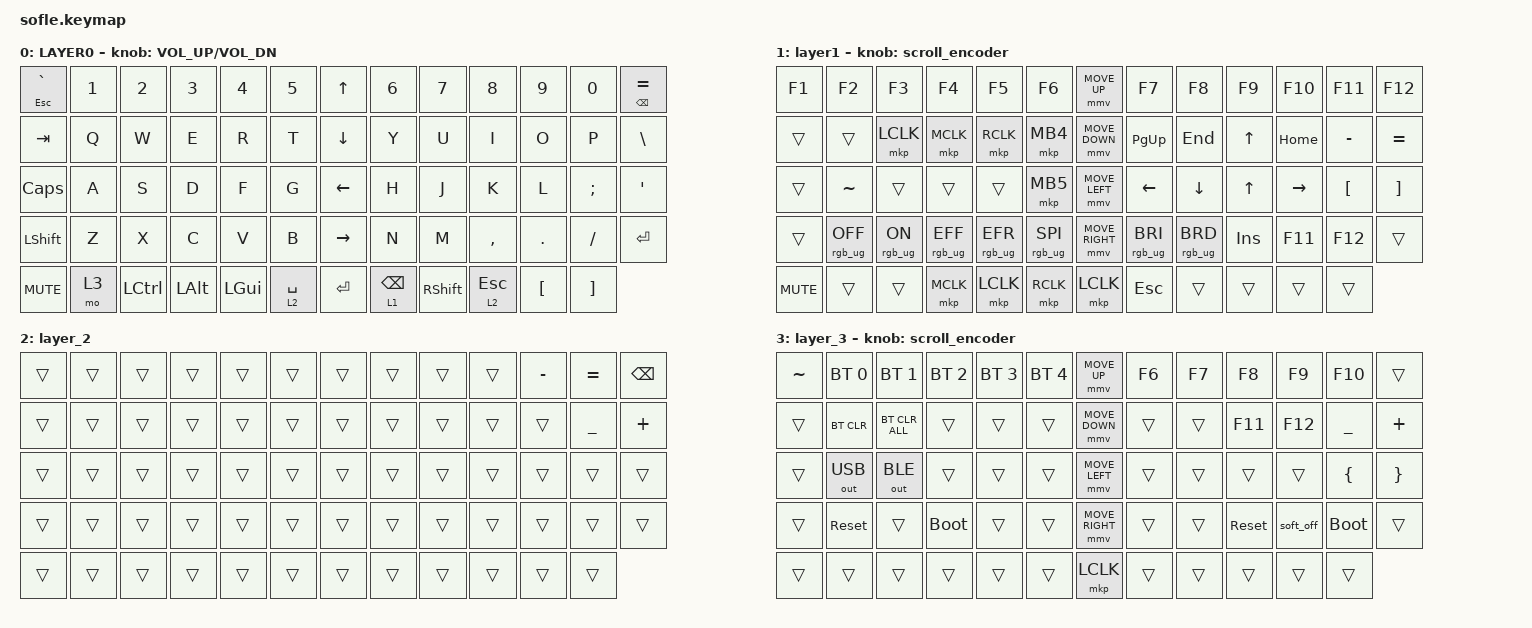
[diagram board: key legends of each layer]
#include <behaviors/mouse_keys.dtsi>
#include <behaviors.dtsi>
#include <dt-bindings/zmk/bt.h>
#include <dt-bindings/zmk/keys.h>
#include <dt-bindings/zmk/mouse.h>
#include <dt-bindings/zmk/outputs.h>
#include <dt-bindings/zmk/rgb.h>

#define ZMK_MOUSE_DEFAULT_MOVE_VAL 1200  // 600
#define ZMK_MOUSE_DEFAULT_SCRL_VAL 20    // 10
#define U_MS_U &mmv MOVE_UP
#define U_MS_D &mmv MOVE_DOWN
#define U_MS_L &mmv MOVE_LEFT
#define U_MS_R &mmv MOVE_RIGHT
#define ZMK_MOUSE_DEFAULT_MOVE_VAL 1200  //  600
#define ZMK_MOUSE_DEFAULT_SCRL_VAL 20    // 10

/ {
    behaviors {
        mmv {
            acceleration-exponent = <1>;      // 1
            time-to-max-speed-ms = <900>;    // 40
            delay-ms = <0>;                   // 0
        };

        msc {
            acceleration-exponent = <1>;      // 0
            time-to-max-speed-ms = <400>;      // 500
            delay-ms = <0>;                   //   10
        };

        tap_hold {
            tapping-term-ms = <400>;         // Tweak this to achieve a faster response time
            quick_tap_ms = <10>;            // Ensures a quick tap registers without modifier
        };
    };

    scroll_encoder: scroll_encoder {
        compatible = "zmk,behavior-sensor-rotate";
        #sensor-binding-cells = <0>;
        bindings = <&msc SCRL_DOWN>, <&msc SCRL_UP>;

        tap-ms = <30>;
    };

    combos {
        compatible = "zmk,combos";

        zoom_in {
            bindings = <&kp LG(EQUAL)>;
            key-positions = <56 11>;
        };

        zoom_out {
            bindings = <&kp LG(MINUS)>;
            key-positions = <56 10>;
        };

        escape_btn {
            bindings = <&kp ESCAPE>;
            key-positions = <0 13>;
        };
    };

    keymap {
        compatible = "zmk,keymap";

        layer0 {
            bindings = <
&mt ESC GRAVE  &kp N1  &kp N2     &kp N3        &kp N4    &kp N5         &kp UP_ARROW     &kp N6           &kp N7           &kp N8        &kp N9    &kp N0    &mt BACKSPACE EQUAL
&kp TAB        &kp Q   &kp W      &kp E         &kp R     &kp T          &kp DOWN_ARROW   &kp Y            &kp U            &kp I         &kp O     &kp P     &kp BSLH
&kp CAPS       &kp A   &kp S      &kp D         &kp F     &kp G          &kp LEFT_ARROW   &kp H            &kp J            &kp K         &kp L     &kp SEMI  &kp APOS
&kp LSHFT      &kp Z   &kp X      &kp C         &kp V     &kp B          &kp RIGHT_ARROW  &kp N            &kp M            &kp COMMA     &kp DOT   &kp FSLH  &kp ENTER
&kp C_MUTE     &mo 3   &kp LCTRL  &kp LEFT_ALT  &kp LGUI  &lt 2 SPACE    &kp ENTER        &lt 1 BACKSPACE  &kp RIGHT_SHIFT  &lt 2 ESCAPE  &kp LBKT  &kp RBKT
            >;

            sensor-bindings = <&inc_dec_kp C_VOLUME_UP C_VOL_DN>;
            display-name = "LAYER0";
        };

        layer_1 {
            bindings = <
&kp F1      &kp F2           &kp F3          &kp F4           &kp F5           &kp F6             &mmv MOVE_UP     &kp F7           &kp F8           &kp F9        &kp F10    &kp F11           &kp F12
&trans      &trans           &mkp LCLK       &mkp MCLK        &mkp RCLK        &mkp MB4           &mmv MOVE_DOWN   &kp PG_UP        &kp END          &kp UP        &kp HOME   &kp MINUS         &kp EQUAL
&trans      &kp TILDE        &trans          &trans           &trans           &mkp MB5           &mmv MOVE_LEFT   &kp LEFT         &kp DOWN         &kp UP_ARROW  &kp RIGHT  &kp LEFT_BRACKET  &kp RIGHT_BRACKET
&trans      &rgb_ug RGB_OFF  &rgb_ug RGB_ON  &rgb_ug RGB_EFF  &rgb_ug RGB_EFR  &rgb_ug RGB_SPI    &mmv MOVE_RIGHT  &rgb_ug RGB_BRI  &rgb_ug RGB_BRD  &kp INSERT    &kp F11    &kp F12           &trans
&kp C_MUTE  &trans           &trans          &mkp MCLK        &mkp LCLK        &mkp RCLK          &mkp LCLK        &kp ESC          &trans           &trans        &trans     &trans
            >;

            display-name = "layer1";
            sensor-bindings = <&scroll_encoder>;
        };

        layer_2 {
            bindings = <
&trans  &trans  &trans  &trans  &trans  &trans    &trans  &trans  &trans  &trans  &kp MINUS  &kp EQUAL       &kp BACKSPACE
&trans  &trans  &trans  &trans  &trans  &trans    &trans  &trans  &trans  &trans  &trans     &kp UNDERSCORE  &kp PLUS
&trans  &trans  &trans  &trans  &trans  &trans    &trans  &trans  &trans  &trans  &trans     &trans          &trans
&trans  &trans  &trans  &trans  &trans  &trans    &trans  &trans  &trans  &trans  &trans     &trans          &trans
&trans  &trans  &trans  &trans  &trans  &trans    &trans  &trans  &trans  &trans  &trans     &trans
            >;
        };

        layer_3 {
            bindings = <
&kp TILDE  &bt BT_SEL 0  &bt BT_SEL 1    &bt BT_SEL 2  &bt BT_SEL 3  &bt BT_SEL 4    &mmv MOVE_UP     &kp F6  &kp F7  &kp F8      &kp F9     &kp F10      &trans
&trans     &bt BT_CLR    &bt BT_CLR_ALL  &trans        &trans        &trans          &mmv MOVE_DOWN   &trans  &trans  &kp F11     &kp F12    &kp UNDER    &kp PLUS
&trans     &out OUT_USB  &out OUT_BLE    &trans        &trans        &trans          &mmv MOVE_LEFT   &trans  &trans  &trans      &trans     &kp LBRC     &kp RBRC
&trans     &sys_reset    &trans          &bootloader   &trans        &trans          &mmv MOVE_RIGHT  &trans  &trans  &sys_reset  &soft_off  &bootloader  &trans
&trans     &trans        &trans          &trans        &trans        &trans          &mkp LCLK        &trans  &trans  &trans      &trans     &trans
            >;

            sensor-bindings = <&scroll_encoder>;
        };
    };
};
